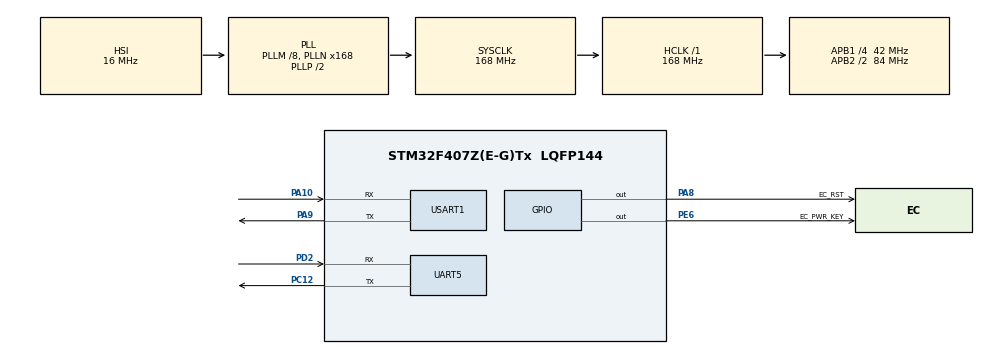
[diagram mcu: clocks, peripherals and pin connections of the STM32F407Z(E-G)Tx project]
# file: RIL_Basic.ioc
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Dma.Request0=USART1_RX
Dma.Request1=USART1_TX
Dma.Request2=UART5_RX
Dma.Request3=UART5_TX
Dma.UART5_RX.2.Direction=DMA_PERIPH_TO_MEMORY
Dma.UART5_RX.2.FIFOMode=DMA_FIFOMODE_DISABLE
Dma.UART5_RX.2.Instance=DMA1_Stream0
Dma.UART5_RX.2.MemDataAlignment=DMA_MDATAALIGN_BYTE
Dma.UART5_RX.2.MemInc=DMA_MINC_ENABLE
Dma.UART5_RX.2.Mode=DMA_NORMAL
Dma.UART5_RX.2.PeriphDataAlignment=DMA_PDATAALIGN_BYTE
Dma.UART5_RX.2.PeriphInc=DMA_PINC_DISABLE
Dma.UART5_RX.2.Priority=DMA_PRIORITY_LOW
Dma.UART5_TX.3.Direction=DMA_MEMORY_TO_PERIPH
Dma.UART5_TX.3.FIFOMode=DMA_FIFOMODE_DISABLE
Dma.UART5_TX.3.Instance=DMA1_Stream7
Dma.UART5_TX.3.MemDataAlignment=DMA_MDATAALIGN_BYTE
Dma.UART5_TX.3.MemInc=DMA_MINC_ENABLE
Dma.UART5_TX.3.Mode=DMA_NORMAL
Dma.UART5_TX.3.PeriphDataAlignment=DMA_PDATAALIGN_BYTE
Dma.UART5_TX.3.PeriphInc=DMA_PINC_DISABLE
Dma.UART5_TX.3.Priority=DMA_PRIORITY_LOW
Dma.USART1_RX.0.Direction=DMA_PERIPH_TO_MEMORY
Dma.USART1_RX.0.FIFOMode=DMA_FIFOMODE_DISABLE
Dma.USART1_RX.0.Instance=DMA2_Stream2
Dma.USART1_RX.0.MemDataAlignment=DMA_MDATAALIGN_BYTE
Dma.USART1_RX.0.MemInc=DMA_MINC_ENABLE
Dma.USART1_RX.0.Mode=DMA_NORMAL
Dma.USART1_RX.0.PeriphDataAlignment=DMA_PDATAALIGN_BYTE
Dma.USART1_RX.0.PeriphInc=DMA_PINC_DISABLE
Dma.USART1_RX.0.Priority=DMA_PRIORITY_LOW
Dma.USART1_TX.1.Direction=DMA_MEMORY_TO_PERIPH
Dma.USART1_TX.1.FIFOMode=DMA_FIFOMODE_DISABLE
Dma.USART1_TX.1.Instance=DMA2_Stream7
Dma.USART1_TX.1.MemDataAlignment=DMA_MDATAALIGN_BYTE
Dma.USART1_TX.1.MemInc=DMA_MINC_ENABLE
Dma.USART1_TX.1.Mode=DMA_NORMAL
Dma.USART1_TX.1.PeriphDataAlignment=DMA_PDATAALIGN_BYTE
Dma.USART1_TX.1.PeriphInc=DMA_PINC_DISABLE
Dma.USART1_TX.1.Priority=DMA_PRIORITY_LOW
Mcu.Family=STM32F4
Mcu.Name=STM32F407Z(E-G)Tx
Mcu.Package=LQFP144
NVIC.DMA1_Stream0_IRQn=true\:0\:0\:false\:false\:true\:false\:true\:true
NVIC.DMA1_Stream7_IRQn=true\:0\:0\:false\:false\:true\:false\:true\:true
NVIC.DMA2_Stream2_IRQn=true\:0\:0\:false\:false\:true\:false\:true\:true
NVIC.DMA2_Stream7_IRQn=true\:0\:0\:false\:false\:true\:false\:true\:true
NVIC.PriorityGroup=NVIC_PRIORITYGROUP_4
NVIC.TIM6_DAC_IRQn=true\:0\:0\:false\:false\:true\:true\:true\:true
NVIC.UART5_IRQn=true\:0\:0\:false\:false\:true\:false\:true\:true
NVIC.USART1_IRQn=true\:0\:0\:false\:false\:true\:false\:true\:true
PA10.Mode=Asynchronous
PA10.Signal=USART1_RX
PA8.GPIO_Label=EC_RST
PA8.Signal=GPIO_Output
PA9.Mode=Asynchronous
PA9.Signal=USART1_TX
PC12.Mode=Asynchronous
PC12.Signal=UART5_TX
PD2.Mode=Asynchronous
PD2.Signal=UART5_RX
PE6.GPIO_Label=EC_PWR_KEY
PE6.Signal=GPIO_Output
ProjectManager.HeapSize=0x200
ProjectManager.StackSize=0x400
ProjectManager.TargetToolchain=MDK-ARM V5.32
RCC.48MHZClocksFreq_Value=84000000
RCC.AHBFreq_Value=168000000
RCC.APB1CLKDivider=RCC_HCLK_DIV4
RCC.APB1Freq_Value=42000000
RCC.APB1TimFreq_Value=84000000
RCC.APB2CLKDivider=RCC_HCLK_DIV2
RCC.APB2Freq_Value=84000000
RCC.APB2TimFreq_Value=168000000
RCC.CortexFreq_Value=168000000
RCC.HCLKFreq_Value=168000000
RCC.HSE_VALUE=25000000
RCC.HSI_VALUE=16000000
RCC.LSE_VALUE=32768
RCC.PLLM=8
RCC.PLLN=168
RCC.SYSCLKFreq_VALUE=168000000
RCC.SYSCLKSource=RCC_SYSCLKSOURCE_PLLCLK
RCC.VCOOutputFreq_Value=336000000
TIM6.AutoReloadPreload=TIM_AUTORELOAD_PRELOAD_ENABLE
TIM6.Period=10000-1
TIM6.Prescaler=420-1
UART5.VirtualMode=Asynchronous
USART1.VirtualMode=VM_ASYNC
VP_TIM6_VS_ClockSourceINT.Mode=Enable_Timer
board=custom

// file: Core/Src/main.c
/* USER CODE BEGIN Header */
/**
 ******************************************************************************
 * @file           : main.c
 * @brief          : Main program body
 ******************************************************************************
 * @attention
 *
 * Copyright (c) 2025 STMicroelectronics.
 * All rights reserved.
 *
 * This software is licensed under terms that can be found in the LICENSE file
 * in the root directory of this software component.
 * If no LICENSE file comes with this software, it is provided AS-IS.
 *
 ******************************************************************************
 */
/* USER CODE END Header */
#include "main.h"
#include "dma.h"
#include "tim.h"
#include "usart.h"
#include "gpio.h"

/* USER CODE BEGIN Includes */
#include "log.h"
#include "ril.h"
/* USER CODE END Includes */

void SystemClock_Config(void);

/* USER CODE BEGIN 0 */
static void _RIL_PowerCommandCallback(RIL_PowerCommand powerCmd);
static int32_t okRespCallback(char *line, uint32_t len, void *userData)
{
  int8_t cmpRet = strncmp(line, "OK", len);
  if (!cmpRet)
  {
    return RIL_ATRSP_SUCCESS;
  }
  return RIL_ATRSP_CONTINUE;
}
/* USER CODE END 0 */

int main(void)
{

  /* MCU Configuration--------------------------------------------------------*/

  /* Reset of all peripherals, Initializes the Flash interface and the Systick. */
  HAL_Init();

  /* Configure the system clock */
  SystemClock_Config();

  /* Initialize all configured peripherals */
  MX_GPIO_Init();
  MX_DMA_Init();
  MX_USART1_UART_Init();
  MX_UART5_Init();
  MX_TIM6_Init();
  /* USER CODE BEGIN 2 */
  /* ========= Log Initialization ========== */
  // Initialize serial log module for debug output
  SerialLog_Init(&huart5);
  HAL_TIM_Base_Start_IT(&htim6);
  if (RIL_initialize(&huart1, NULL, _RIL_PowerCommandCallback, NULL) != RIL_AT_SUCCESS)
  {
    logError("RIL initialization failed");
    while (1)
      ;
  }

  logInfo("RIL initialization success");

  /* USER CODE END 2 */

  /* Infinite loop */
  while (1)
  {

  }
}

void SystemClock_Config(void)
{
  RCC_OscInitTypeDef RCC_OscInitStruct = {0};
  RCC_ClkInitTypeDef RCC_ClkInitStruct = {0};

  /** Configure the main internal regulator output voltage
   */
  __HAL_RCC_PWR_CLK_ENABLE();
  __HAL_PWR_VOLTAGESCALING_CONFIG(PWR_REGULATOR_VOLTAGE_SCALE1);

  /** Initializes the RCC Oscillators according to the specified parameters
   * in the RCC_OscInitTypeDef structure.
   */
  RCC_OscInitStruct.OscillatorType = RCC_OSCILLATORTYPE_HSI;
  RCC_OscInitStruct.HSIState = RCC_HSI_ON;
  RCC_OscInitStruct.HSICalibrationValue = RCC_HSICALIBRATION_DEFAULT;
  RCC_OscInitStruct.PLL.PLLState = RCC_PLL_ON;
  RCC_OscInitStruct.PLL.PLLSource = RCC_PLLSOURCE_HSI;
  RCC_OscInitStruct.PLL.PLLM = 8;
  RCC_OscInitStruct.PLL.PLLN = 168;
  RCC_OscInitStruct.PLL.PLLP = RCC_PLLP_DIV2;
  RCC_OscInitStruct.PLL.PLLQ = 4;
  if (HAL_RCC_OscConfig(&RCC_OscInitStruct) != HAL_OK)
  {
    Error_Handler();
  }

  /** Initializes the CPU, AHB and APB buses clocks
   */
  RCC_ClkInitStruct.ClockType = RCC_CLOCKTYPE_HCLK | RCC_CLOCKTYPE_SYSCLK | RCC_CLOCKTYPE_PCLK1 | RCC_CLOCKTYPE_PCLK2;
  RCC_ClkInitStruct.SYSCLKSource = RCC_SYSCLKSOURCE_PLLCLK;
  RCC_ClkInitStruct.AHBCLKDivider = RCC_SYSCLK_DIV1;
  RCC_ClkInitStruct.APB1CLKDivider = RCC_HCLK_DIV4;
  RCC_ClkInitStruct.APB2CLKDivider = RCC_HCLK_DIV2;

  if (HAL_RCC_ClockConfig(&RCC_ClkInitStruct, FLASH_LATENCY_5) != HAL_OK)
  {
    Error_Handler();
  }
}

/* USER CODE BEGIN 4 */
void HAL_TIM_PeriodElapsedCallback(TIM_HandleTypeDef *htim)
{
  if (htim->Instance == TIM6)
  {
    SerialLog_Routine();
  }
}

static void _RIL_PowerCommandCallback(RIL_PowerCommand powerCmd)
{
  switch (powerCmd)
  {
  case RIL_POWER_COMMAND_ON:
  case RIL_POWER_COMMAND_OFF:
    HAL_GPIO_WritePin(EC_PWR_KEY_GPIO_Port, EC_PWR_KEY_Pin, GPIO_PIN_RESET);
    HAL_Delay(3000);
    HAL_GPIO_WritePin(EC_PWR_KEY_GPIO_Port, EC_PWR_KEY_Pin, GPIO_PIN_SET);
    HAL_Delay(3000);
  case RIL_POWER_COMMAND_RESTART:
    HAL_GPIO_WritePin(EC_RST_GPIO_Port, EC_RST_Pin, GPIO_PIN_RESET);
    HAL_Delay(150);
    HAL_GPIO_WritePin(EC_RST_GPIO_Port, EC_RST_Pin, GPIO_PIN_SET);
    break;
  }
}

/* USER CODE BEGIN 4 */
void HAL_UART_RxCpltCallback(UART_HandleTypeDef *huart)
{
  switch ((uint32_t)huart->Instance)
  {
  case USART1_BASE:
    RIL_rxCpltHandle();
    break;
  }
}

void HAL_UART_TxCpltCallback(UART_HandleTypeDef *huart)
{
  switch ((uint32_t)huart->Instance)
  {
  case USART1_BASE:
    RIL_txCpltHandle();
    break;
  }
}
/* USER CODE END 4 */

void Error_Handler(void)
{
  __disable_irq();
  while (1)
  {
  }
}
